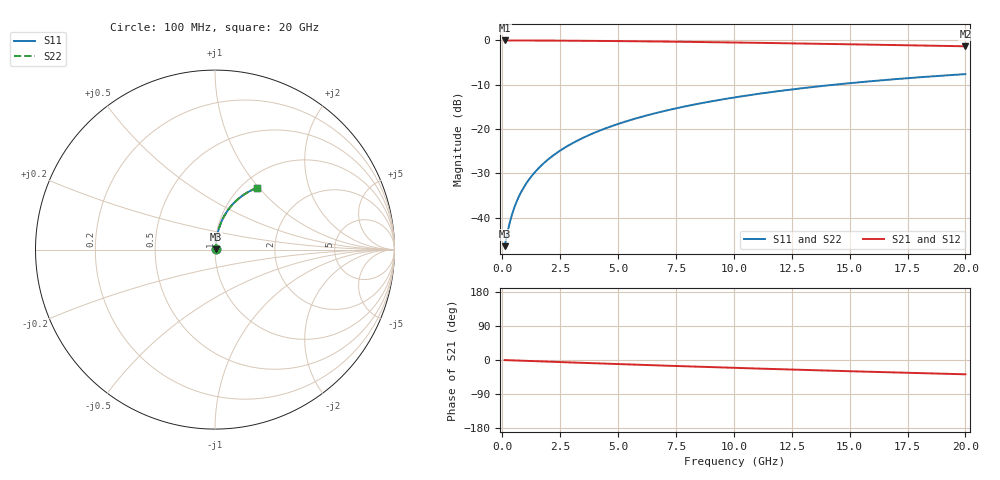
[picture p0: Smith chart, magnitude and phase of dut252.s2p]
! Touchstone file exported from HFSS 2024.1.0
!  File:  C:/UserFiles/LocalFiles/RDL_TSV_Batchsim/temp_RDL_bottom_252_1778701752.aedt
!  Generated:  03:51:41 AM May 14, 2026
!  Design:  RDL_bottom
!  Project:  temp_RDL_bottom_252_1778701752
!  Setup:  Setup1
!  Solution:  Sweep
! Variables:
!  dtsv = 10.80580581um
!  hbump = 3um
!  htsv = 59.49um
!  ldown = 486.96um
!  lrdl = 100um
!  p = 40
!  p1 = 47.25um
!  rhole = 1um
!  t = 450um
!  tdown = 2.92um
!  trdl = 3.915915916um
!  wdown = 14.79um
!  wrdl = 20um
# GHz S MA R 50.000000
! Terminal data exported
! Port[1] = RDL1_T1
! Port[2] = RDL1_T2
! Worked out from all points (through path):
!   200 points, 100 MHz to 20 GHz, reference 50 ohm
!   highest |S21| = -0.04 dB at 100 MHz (marker M1); lowest = -1.4 dB at 20 GHz (marker M2)
!   group delay of S21, straight-line fit = 5.23 ps
!   lowest |S11| = -46.4 dB at 100 MHz (marker M3), VSWR 1.01, Z = 50.4 + j0.242 ohm
!   |S11| at or under -10 dB: start of sweep to 14.36 GHz
!   |S22| runs from -46.4 to -7.6 dB; largest |S21 - S12| = 3.1e-15
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0.1  0.004782 30.1  0.9959 -0.2  0.9959 -0.2  0.004782 30.1
! Gamma 0 0 0 0
! Port Impedance 50 0 50 0
0.3  0.008335 58.7  0.9957 -0.7  0.9957 -0.7  0.008335 58.7
0.4  0.01044 64.7  0.9955 -0.9  0.9955 -0.9  0.01044 64.7
0.5  0.0126 68.5  0.9954 -1.1  0.9954 -1.1  0.0126 68.5
0.6  0.01477 71.2  0.9952 -1.3  0.9952 -1.3  0.01477 71.2
0.8  0.01916 74.7  0.9949 -1.8  0.9949 -1.8  0.01916 74.7
1.1  0.02578 77.6  0.9944 -2.4  0.9944 -2.4  0.02578 77.6
1.3  0.03022 78.8  0.994 -2.9  0.994 -2.9  0.03022 78.8
1.6  0.03691 80.0  0.9934 -3.5  0.9934 -3.5  0.03691 80.0
2.1  0.04814 81.0  0.9922 -4.6  0.9922 -4.6  0.04814 81.0
2.7  0.06169 81.3  0.9904 -5.9  0.9904 -5.9  0.06169 81.3
3.5  0.07986 81.1  0.9873 -7.6  0.9873 -7.6  0.07986 81.1
4.2  0.09581 80.6  0.9842 -9.1  0.9842 -9.1  0.09581 80.6
5  0.1141 79.8  0.98 -10.8  0.98 -10.8  0.1141 79.8
5.9  0.1346 78.6  0.9748 -12.6  0.9748 -12.6  0.1346 78.6
6.8  0.1551 77.4  0.9689 -14.4  0.9689 -14.4  0.1551 77.4
8.4  0.1911 74.9  0.9575 -17.6  0.9575 -17.6  0.1911 74.9
10.1  0.2286 72.1  0.9442 -20.8  0.9442 -20.8  0.2285 72.1
11.7  0.2626 69.4  0.9309 -23.8  0.9309 -23.8  0.2626 69.4
13.4  0.2974 66.5  0.9162 -26.8  0.9162 -26.8  0.2974 66.5
16.7  0.3599 61.0  0.8864 -32.5  0.8864 -32.5  0.3599 61.0
20  0.4156 55.8  0.8561 -37.7  0.8561 -37.7  0.4156 55.8
